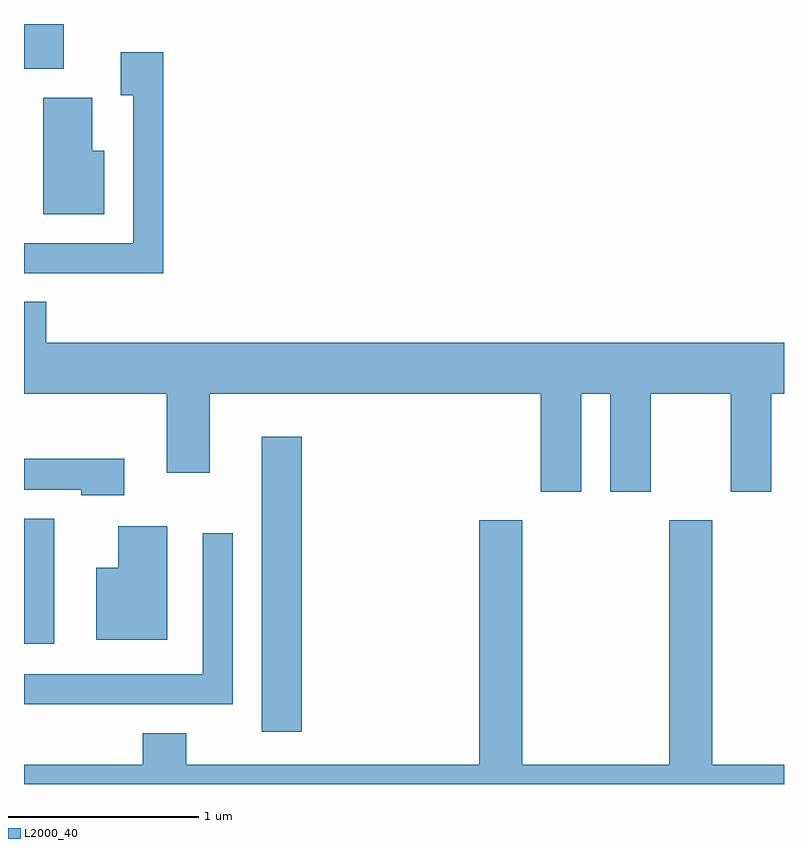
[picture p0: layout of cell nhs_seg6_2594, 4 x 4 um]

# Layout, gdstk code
import gdstk
lib = gdstk.Library(unit=1e-6, precision=1e-09)
def R(c, l, rs):  # rectangles x0, y0, x1, y1
    for r in rs: c.add(gdstk.rectangle(r[:2], r[2:], *l))
def P(c, l, *ps):  # polygons
    for p in ps: c.add(gdstk.Polygon(p, *l))
L2000_40 = (2000, 40)

nhs_seg6_2594 = lib.new_cell('nhs_seg6_2594')
R(nhs_seg6_2594, L2000_40, [(264.861,1590.436,265.074,1591.989), (263.611,1590.901,263.769,1591.559), (263.611,1593.926,263.819,1594.162)])
P(nhs_seg6_2594, L2000_40, [(264.344,1594.014),(264.121,1594.014),(264.121,1593.786),(264.186,1593.786),(264.186,1593.009),(263.611,1593.009),(263.611,1592.851),(264.344,1592.851)],
  [(264.034,1593.494),(263.969,1593.494),(263.969,1593.774),(263.711,1593.774),(263.711,1593.161),(264.034,1593.161)],
  [(266.544,1592.216),(266.696,1592.216),(266.696,1591.701),(266.909,1591.701),(266.909,1592.216),(267.331,1592.216),(267.331,1591.701),(267.544,1591.701),(267.544,1592.216),(267.611,1592.216),(267.611,1592.484),(263.729,1592.484),(263.729,1592.699),(263.611,1592.699),(263.611,1592.216),(264.361,1592.216),(264.361,1591.801),(264.589,1591.801),(264.589,1592.216),(266.331,1592.216),(266.331,1591.701),(266.544,1591.701)],
  [(264.139,1591.874),(263.611,1591.874),(263.611,1591.711),(263.911,1591.711),(263.911,1591.681),(264.139,1591.681)],
  [(267.611,1590.264),(267.234,1590.264),(267.234,1591.549),(267.006,1591.549),(267.006,1590.264),(266.234,1590.264),(266.234,1591.549),(266.006,1591.549),(266.006,1590.264),(264.464,1590.264),(264.464,1590.429),(264.236,1590.429),(264.236,1590.264),(263.611,1590.264),(263.611,1590.162),(267.611,1590.162)],
  [(264.364,1591.519),(264.106,1591.519),(264.106,1591.299),(263.991,1591.299),(263.991,1590.921),(264.364,1590.921)],
  [(264.709,1591.483),(264.551,1591.483),(264.551,1590.739),(263.611,1590.739),(263.611,1590.581),(264.709,1590.581)])

lib.write_gds('nhs_seg6_2594.gds')
